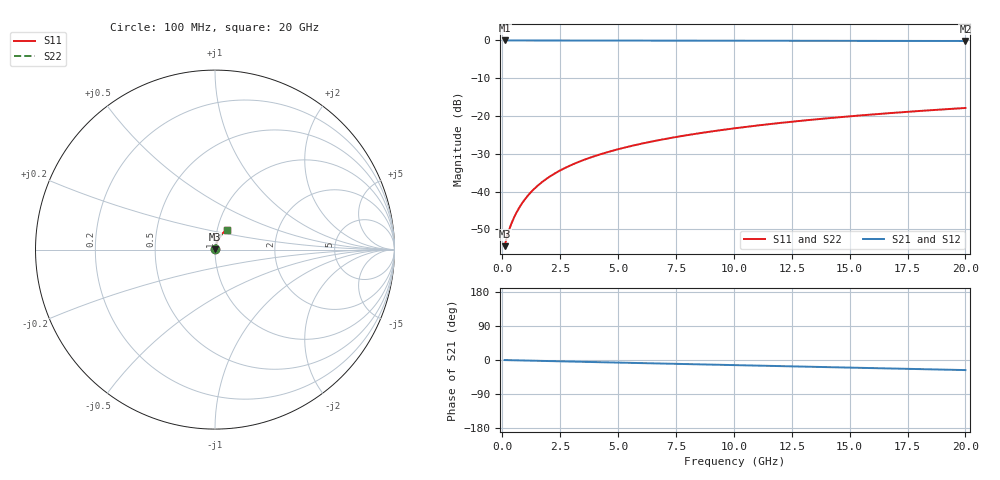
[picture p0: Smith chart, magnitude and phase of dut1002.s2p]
! Touchstone file exported from HFSS 2026.1.0
!  File:  C:/ffzhzh/LocalFiles/Ansys_Project_Files/temp_train_TMRDL_1002_1783159537_18472.aedt
!  Generated:  06:06:48 PM Jul  4, 2026
!  Design:  TMRDL
!  Project:  temp_train_TMRDL_1002_1783159537_18472
! Variables:
!  h_bsmrdl = 2um
!  h_ox = 20um
!  h_rdl = 5um
!  h_sub = 80um
!  h_tmrdl = 4.92um
!  h_tsv = 80um
!  h_via = 3um
!  l_bsmrdl = 300um
!  l_sub = 844.13um
!  l_tmrdl = 444.13um
!  m_sub = 200um
!  pitch = 33.41um
!  r_tsv = 6um
!  s_tmrdl = 10um
!  w_bsmrdl = 18um
!  w_sub = 500um
!  w_tmrdl = 22.72um
!  x_tsv_center1 = 455.49um
!  x_tsv_center2 = 773.49um
!  x_tsv_center3 = 1240.34um
!  x_tsv_center4 = 1558.34um
!  x_tsv_center5 = 2025.19um
!  x_tsv_center6 = 2343.19um
# GHz S MA R 50.000000
! Terminal data exported
! Port[1] = TM_RDL1_1_T1
! Port[2] = TM_RDL1_1_T2
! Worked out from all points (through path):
!   200 points, 100 MHz to 20 GHz, reference 50 ohm
!   highest |S21| = -0.01 dB at 100 MHz (marker M1); lowest = -0.2 dB at 20 GHz (marker M2)
!   group delay of S21, straight-line fit = 3.68 ps
!   lowest |S11| = -54.4 dB at 100 MHz (marker M3), VSWR 1.00, Z = 50.2 + j0.099 ohm
!   |S11| at or under -10 dB: start of sweep to end of sweep
!   |S22| runs from -54.4 to -17.9 dB; largest |S21 - S12| = 2.8e-15
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0.1  0.001896 31.3  0.9984 -0.2  0.9984 -0.2  0.001896 31.3
! Gamma 0 0 0 0
! Port Impedance 50 0 50 0
0.2  0.002534 44.9  0.9982 -0.3  0.9982 -0.3  0.002535 44.9
0.3  0.003165 53.0  0.9981 -0.4  0.9981 -0.4  0.003168 53.0
0.4  0.003814 58.7  0.998 -0.6  0.998 -0.6  0.003817 58.7
0.5  0.004487 62.9  0.9979 -0.7  0.9979 -0.7  0.00449 62.9
0.6  0.005182 66.0  0.9978 -0.8  0.9978 -0.8  0.005184 66.0
0.8  0.006613 70.3  0.9977 -1.1  0.9977 -1.1  0.006613 70.3
1  0.008074 72.9  0.9976 -1.4  0.9976 -1.4  0.008074 72.9
1.2  0.009549 74.5  0.9976 -1.7  0.9976 -1.7  0.009548 74.5
1.4  0.01103 75.6  0.9975 -2.0  0.9975 -2.0  0.01103 75.6
1.7  0.01324 76.6  0.9973 -2.4  0.9973 -2.4  0.01324 76.6
2.2  0.01689 77.3  0.997 -3.1  0.997 -3.1  0.01689 77.3
2.8  0.0212 77.4  0.9965 -3.9  0.9965 -3.9  0.02119 77.4
3.5  0.02611 77.0  0.996 -4.8  0.996 -4.8  0.02611 77.0
4.2  0.03092 76.5  0.9954 -5.8  0.9954 -5.8  0.03092 76.5
5  0.03632 75.8  0.9947 -6.9  0.9947 -6.9  0.03632 75.8
6.8  0.04817 74.1  0.9932 -9.3  0.9932 -9.3  0.04817 74.0
8.3  0.05781 72.5  0.992 -11.2  0.992 -11.2  0.05781 72.5
10.1  0.06916 70.6  0.9906 -13.6  0.9906 -13.6  0.06917 70.5
13.4  0.08943 66.8  0.9879 -18.0  0.9879 -18.0  0.08944 66.8
16.7  0.109 63.0  0.985 -22.3  0.985 -22.3  0.109 63.0
20  0.1277 59.1  0.982 -26.6  0.982 -26.6  0.1277 59.0
